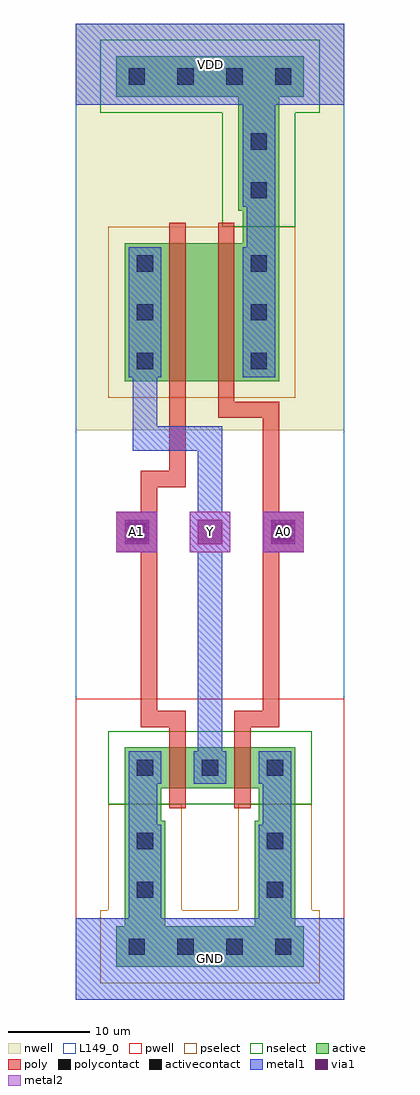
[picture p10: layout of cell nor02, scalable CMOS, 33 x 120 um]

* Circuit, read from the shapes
.subckt nor02 A0 A1 GND VDD Y
M1 Y A1 GND GND nfet w=5u l=2u
M2 GND A0 Y GND nfet w=5u l=2u
M3 n1 A1 Y VDD pfet w=17u l=2u
M4 VDD A0 n1 VDD pfet w=17u l=2u
.ends

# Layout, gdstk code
import gdstk
lib = gdstk.Library(unit=1e-6, precision=1e-09)
def R(c, l, rs):  # rectangles x0, y0, x1, y1
    for r in rs: c.add(gdstk.rectangle(r[:2], r[2:], *l))
def A(c, l, x, y, w, h, nx, ny, dx, dy):  # array of equal rectangles
    R(c, l, [(x+i*dx, y+j*dy, x+i*dx+w, y+j*dy+h) for i in range(nx) for j in range(ny)])
pwell = (41, 0)
nwell = (42, 0)
active = (43, 0)
pselect = (44, 0)
nselect = (45, 0)
poly = (46, 0)
polycontact = (47, 0)
activecontact = (48, 0)
metal1 = (49, 0)
via1 = (50, 0)
metal2 = (51, 0)
L149_0 = (149, 0)

via = lib.new_cell('via')
R(via, metal1, [(-2.5,-2.5,2.5,2.5)])
R(via, via1, [(-1.5,-1.5,1.5,1.5)])
R(via, metal2, [(-2.5,-2.5,2.5,2.5)])

nor02 = lib.new_cell('nor02')
R(nor02, pwell, [(0,0,33,37), (0,20,33,37)])
R(nor02, nwell, [(0,70,31,99), (0,70,33,120)])
R(nor02, active, [(5,4,28,9), (6,9,11,22), (22,9,27,22), (6,22,10.5,26), (22.5,22,27,26), (6,26,11.5,31), (6,26,27,31), (21.5,26,27,31), (6,76,11.5,93), (6,76,25,93), (19.5,76,25,93), (20.5,93,25,97), (20,97,25,111), (5,111,28,116)])
R(nor02, pselect, [(3,2,30,11), (4,11,13,24), (20,11,29,24), (4,74,27,95)])
R(nor02, nselect, [(4,24,29,33), (18,95,27,109), (3,109,30,118)])
R(nor02, poly, [(11.5,23.5,13.5,26), (19.5,23.5,21.5,26), (11.5,26,13.5,31), (19.5,26,21.5,31), (11.5,31,13.5,33.5), (19.5,31,21.5,33.5), (5,55,10,60), (23,55,28,60), (11.5,73.5,13.5,76), (17.5,73.5,19.5,76), (11.5,76,13.5,93), (17.5,76,19.5,93), (11.5,93,13.5,95.5), (17.5,93,19.5,95.5)])
R(nor02, polycontact, [(6.5,56.5,8.5,58.5), (24.5,56.5,26.5,58.5)])
A(nor02, activecontact, 6.5, 5.5, 2, 2, 4, 2, 6, 107)
A(nor02, activecontact, 7.5, 27.5, 2, 2, 3, 1, 8, 0)
A(nor02, activecontact, 7.5, 77.5, 2, 2, 1, 3, 0, 6)
A(nor02, activecontact, 21.5, 77.5, 2, 2, 1, 3, 0, 6)
R(nor02, activecontact, [(7.5,12.5,9.5,14.5), (23.5,12.5,25.5,14.5), (7.5,18.5,9.5,20.5), (23.5,18.5,25.5,20.5), (21.5,98.5,23.5,100.5), (21.5,104.5,23.5,106.5)])
A(nor02, metal1, 6.5, 26.5, 4, 4, 3, 1, 8, 0)
R(nor02, metal1, [(0,0,33,10), (6.5,10,10.5,21.5), (22.5,10,26.5,21.5), (6.5,21.5,10,26.5), (23,21.5,26.5,26.5), (5.5,55.5,9.5,59.5), (23.5,55.5,27.5,59.5), (6.5,76.5,10.5,92.5), (20.5,76.5,24.5,92.5), (21,92.5,24.5,97.5), (20.5,97.5,24.5,110), (0,110,33,120)])
A(nor02, metal2, 5, 55, 5, 5, 3, 1, 9, 0)
R(nor02, L149_0, [(0,0,33,120)])
nor02.add(gdstk.FlexPath([(12.5,73.5),(12.5,64),(9,64),(9,60)], 2, ends="flush", simple_path=True, layer=46, datatype=0))  # poly
nor02.add(gdstk.FlexPath([(9,55),(9,34.5),(13.5,34.5)], 2, ends="flush", simple_path=True, layer=46, datatype=0))  # poly
nor02.add(gdstk.FlexPath([(19.5,34.5),(24,34.5),(24,55)], 2, ends="flush", simple_path=True, layer=46, datatype=0))  # poly
nor02.add(gdstk.FlexPath([(17.5,72.5),(24,72.5),(24,60)], 2, ends="flush", simple_path=True, layer=46, datatype=0))  # poly
nor02.add(gdstk.FlexPath([(8.5,76.5),(8.5,69),(16.5,69),(16.5,60)], 3, ends="flush", simple_path=True, layer=49, datatype=0))  # metal1
nor02.add(gdstk.FlexPath([(16.5,55),(16.5,30.5)], 3, ends="flush", simple_path=True, layer=49, datatype=0))  # metal1
nor02.add(gdstk.Reference(via, (16.5,57.5), x_reflection=True))
nor02.add(gdstk.Reference(via, (25.5,57.5), x_reflection=True))
nor02.add(gdstk.Reference(via, (7.5,57.5), x_reflection=True))
nor02.add(gdstk.Label('GND', (16.5,5), layer=2, texttype=0))
nor02.add(gdstk.Label('VDD', (16.5,115), layer=2, texttype=0))
nor02.add(gdstk.Label('A1', (7.5,57.5), layer=3, texttype=0))
nor02.add(gdstk.Label('A0', (25.5,57.5), layer=3, texttype=0))
nor02.add(gdstk.Label('Y', (16.5,57.5), layer=3, texttype=0))
nor02.add(gdstk.Label('GND', (16.5,5), layer=2, texttype=0))
nor02.add(gdstk.Label('VDD', (16.5,115), layer=2, texttype=0))
nor02.add(gdstk.Label('A1', (7.5,57.5), layer=3, texttype=0))
nor02.add(gdstk.Label('A0', (25.5,57.5), layer=3, texttype=0))
nor02.add(gdstk.Label('Y', (16.5,57.5), layer=3, texttype=0))

lib.write_gds('nor02.gds')
